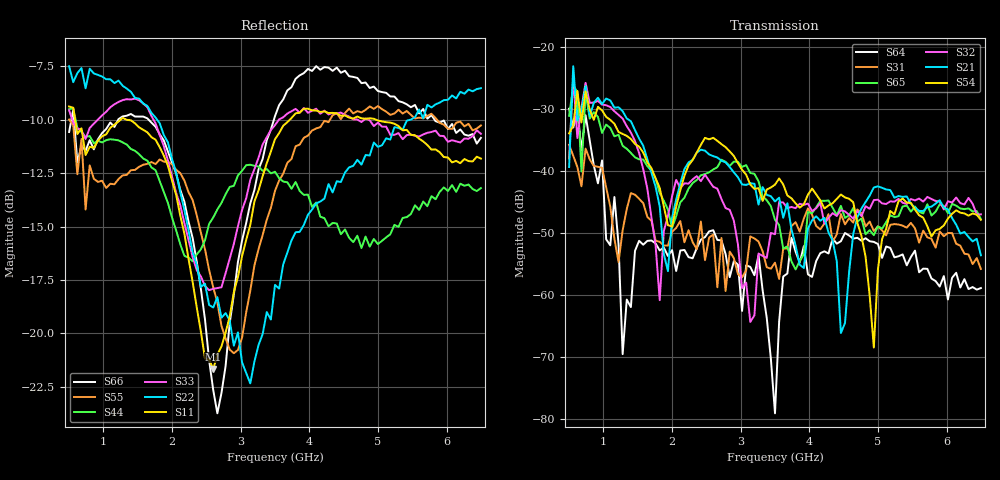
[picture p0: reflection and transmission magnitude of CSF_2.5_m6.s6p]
!Keysight Technologies,M9804A,MY58100912,A.14.10.03
!Date: Thursday, April 27, 2023 10:28:33
!Correction: S11(C  6-Port  )
!S12(C  6-Port  )
!S13(C  6-Port  )
!S14(C  6-Port  )
!S15(C  6-Port  )
!S16(C  6-Port  )
!S21(C  6-Port  )
!S22(C  6-Port  )
!S23(C  6-Port  )
!S24(C  6-Port  )
!S25(C  6-Port  )
!S26(C  6-Port  )
!S31(C  6-Port  )
!S32(C  6-Port  )
!S33(C  6-Port  )
!S34(C  6-Port  )
!S35(C  6-Port  )
!S36(C  6-Port  )
!S41(C  6-Port  )
!S42(C  6-Port  )
!S43(C  6-Port  )
!S44(C  6-Port  )
!S45(C  6-Port  )
!S46(C  6-Port  )
!S51(C  6-Port  )
!S52(C  6-Port  )
!S53(C  6-Port  )
!S54(C  6-Port  )
!S55(C  6-Port  )
!S56(C  6-Port  )
!S61(C  6-Port  )
!S62(C  6-Port  )
!S63(C  6-Port  )
!S64(C  6-Port  )
!S65(C  6-Port  )
!S66(C  6-Port  )
!S6P File: Measurement: :
# Hz S  RI  R 50
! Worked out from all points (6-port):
!   101 points, 500 MHz to 6.5 GHz, reference 50 ohm
!   strongest paths, dB at 500 MHz, 2 GHz, 3.5 GHz, 5 GHz, 6.5 GHz:
!     S54: -34.0, -49.0, -42.3, -55.9, -47.9
!     S21: -39.4, -47.6, -45.0, -42.5, -53.7
!     S32: -38.1, -44.2, -50.3, -44.7, -47.1
!     S65: -31.2, -49.2, -47.9, -49.0, -47.8
!     S31: -35.8, -49.9, -54.9, -49.0, -55.9
!     S64: -30.0, -52.8, -79.2, -51.8, -58.9
!   lowest |S11| = -21.7 dB at 2.6 GHz (marker M1), VSWR 1.18, Z = 42.6 + j1.98 ohm
!   |S11| at or under -10 dB: 587.4 MHz to 1.249 GHz (661.5 MHz wide, 72 % of centre); 1.337 GHz to 3.715 GHz (2.378 GHz wide, 94.1 % of centre); 4.974 GHz to end of sweep
